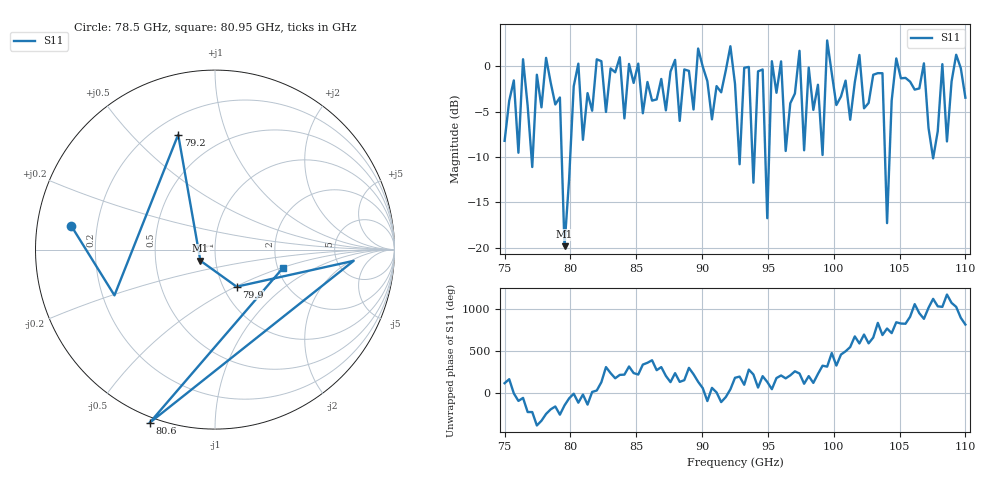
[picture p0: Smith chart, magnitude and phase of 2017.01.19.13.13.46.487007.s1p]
!Created with skrf (http://scikit-rf.org).
# GHz S RI R 50.0
!freq ReS11 ImS11
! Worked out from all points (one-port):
!   101 points, 75 GHz to 110 GHz, reference 50 ohm
!   lowest |S11| = -19.8 dB at 79.55 GHz (marker M1), VSWR 1.23, Z = 42.2 - j5.26 ohm
!   |S11| at or under -10 dB: 77.04278 GHz to 77.13799 GHz (95.21 MHz wide, 0.124 % of centre); 79.34 GHz to 79.98 GHz (643 MHz wide, 0.807 % of centre); 92.81853 GHz to 92.87624 GHz (57.71 MHz wide, 0.0622 % of centre) (the widest 3 of 7)
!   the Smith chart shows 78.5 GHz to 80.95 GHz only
!   S11 on the Smith chart (normalised r, x): 78.5 GHz: 0.10, +0.08; 79.2 GHz: 0.29, +0.69; 79.9 GHz: 1.16, -0.51; 80.6 GHz: -0.02, -0.69; 80.95 GHz: 2.15, -0.51
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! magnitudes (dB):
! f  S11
! 75 GHz  -8.2
! 78.5 GHz  -1.8
! 79.2 GHz  -3.4
! 79.55 GHz  -19.8
! 79.9 GHz  -12.4
! 80.6 GHz  0.3
! 80.95 GHz  -8.1
! 83.75 GHz  1.0
! 88.3 GHz  -6.0
! 92.5 GHz  -1.9
! 92.85 GHz  -10.8
! 93.55 GHz  -0.1
! 93.9 GHz  -12.8
! 94.6 GHz  -0.4
! 94.95 GHz  -16.7
! 95.3 GHz  0.5
! 96.35 GHz  -9.3
! 97.05 GHz  -3.0
! 99.5 GHz  2.8
! 101.2 GHz  -5.9
! 103.7 GHz  -0.8
! 104 GHz  -17.3
! 104.8 GHz  0.9
! 105.8 GHz  -1.7
! 107.5 GHz  -10.1
! 108.2 GHz  0.2
! 108.6 GHz  -8.3
! 110 GHz  -3.5
